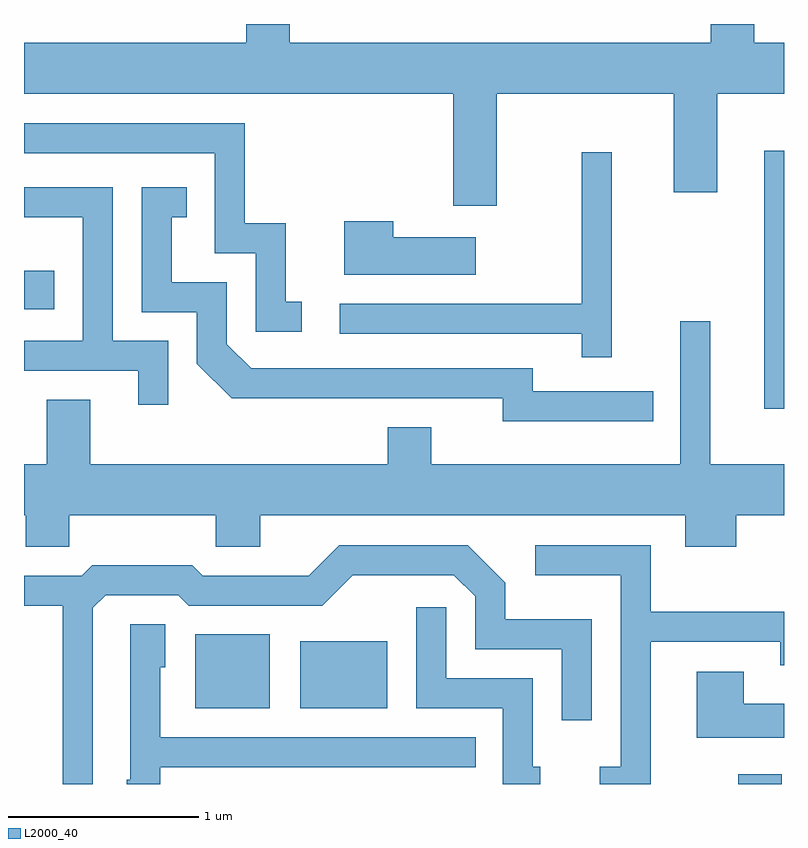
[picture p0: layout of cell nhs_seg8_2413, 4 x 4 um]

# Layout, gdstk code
import gdstk
lib = gdstk.Library(unit=1e-6, precision=1e-09)
def R(c, l, rs):  # rectangles x0, y0, x1, y1
    for r in rs: c.add(gdstk.rectangle(r[:2], r[2:], *l))
def P(c, l, *ps):  # polygons
    for p in ps: c.add(gdstk.Polygon(p, *l))
L2000_40 = (2000, 40)

nhs_seg8_2413 = lib.new_cell('nhs_seg8_2413')
R(nhs_seg8_2413, L2000_40, [(261.371,1828.342,261.599,1828.394), (258.511,1828.741,258.904,1829.129), (259.066,1828.741,259.524,1829.094), (261.506,1830.316,261.611,1831.674), (257.611,1830.841,257.769,1831.044)])
P(nhs_seg8_2413, L2000_40, [(260.099,1831.976),(261.031,1831.976),(261.031,1831.456),(261.259,1831.456),(261.259,1831.976),(261.611,1831.976),(261.611,1832.244),(261.454,1832.244),(261.454,1832.342),(261.226,1832.342),(261.226,1832.244),(259.009,1832.244),(259.009,1832.342),(258.781,1832.342),(258.781,1832.244),(257.611,1832.244),(257.611,1831.976),(259.871,1831.976),(259.871,1831.386),(260.099,1831.386)],
  [(259.073,1830.879),(258.989,1830.879),(258.989,1831.294),(258.774,1831.294),(258.774,1831.819),(257.611,1831.819),(257.611,1831.661),(258.616,1831.661),(258.616,1831.136),(258.831,1831.136),(258.831,1830.721),(259.073,1830.721)],
  [(260.704,1831.668),(260.546,1831.668),(260.546,1830.869),(259.272,1830.869),(259.272,1830.711),(260.546,1830.711),(260.546,1830.588),(260.704,1830.588)],
  [(258.369,1830.674),(258.079,1830.674),(258.079,1831.484),(257.611,1831.484),(257.611,1831.326),(257.921,1831.326),(257.921,1830.674),(257.611,1830.674),(257.611,1830.516),(258.211,1830.516),(258.211,1830.338),(258.369,1830.338)],
  [(260.923,1830.409),(260.289,1830.409),(260.289,1830.529),(258.807,1830.529),(258.679,1830.657),(258.679,1830.984),(258.389,1830.984),(258.389,1831.326),(258.468,1831.326),(258.468,1831.484),(258.231,1831.484),(258.231,1830.826),(258.521,1830.826),(258.521,1830.554),(258.704,1830.371),(260.131,1830.371),(260.131,1830.251),(260.923,1830.251)],
  [(259.989,1831.219),(259.554,1831.219),(259.554,1831.304),(259.296,1831.304),(259.296,1831.021),(259.989,1831.021)],
  [(257.849,1829.756),(258.621,1829.756),(258.621,1829.591),(258.854,1829.591),(258.854,1829.756),(261.091,1829.756),(261.091,1829.591),(261.359,1829.591),(261.359,1829.756),(261.611,1829.756),(261.611,1830.024),(261.224,1830.024),(261.224,1830.778),(261.066,1830.778),(261.066,1830.024),(259.754,1830.024),(259.754,1830.219),(259.526,1830.219),(259.526,1830.024),(257.959,1830.024),(257.959,1830.364),(257.731,1830.364),(257.731,1830.024),(257.611,1830.024),(257.611,1829.756),(257.621,1829.756),(257.621,1829.591),(257.849,1829.591)],
  [(257.974,1829.269),(258.041,1829.336),(258.424,1829.336),(258.479,1829.281),(259.182,1829.281),(259.342,1829.441),(259.873,1829.441),(259.986,1829.329),(259.986,1829.051),(260.441,1829.051),(260.441,1828.678),(260.599,1828.678),(260.599,1829.209),(260.144,1829.209),(260.144,1829.402),(259.947,1829.599),(259.269,1829.599),(259.109,1829.439),(258.552,1829.439),(258.497,1829.494),(257.969,1829.494),(257.914,1829.439),(257.611,1829.439),(257.611,1829.281),(257.816,1829.281),(257.816,1828.342),(257.974,1828.342)],
  [(260.909,1829.091),(261.591,1829.091),(261.591,1828.966),(261.611,1828.966),(261.611,1829.249),(260.909,1829.249),(260.909,1829.599),(260.303,1829.599),(260.303,1829.441),(260.751,1829.441),(260.751,1828.434),(260.641,1828.434),(260.641,1828.342),(260.909,1828.342)],
  [(260.329,1828.434),(260.289,1828.434),(260.289,1828.899),(259.834,1828.899),(259.834,1829.273),(259.676,1829.273),(259.676,1828.741),(260.131,1828.741),(260.131,1828.342),(260.329,1828.342)],
  [(258.329,1828.431),(259.988,1828.431),(259.988,1828.589),(258.329,1828.589),(258.329,1828.956),(258.354,1828.956),(258.354,1829.184),(258.171,1829.184),(258.171,1828.364),(258.151,1828.364),(258.151,1828.342),(258.329,1828.342)],
  [(261.611,1828.764),(261.399,1828.764),(261.399,1828.934),(261.151,1828.934),(261.151,1828.586),(261.611,1828.586)])

lib.write_gds('nhs_seg8_2413.gds')
